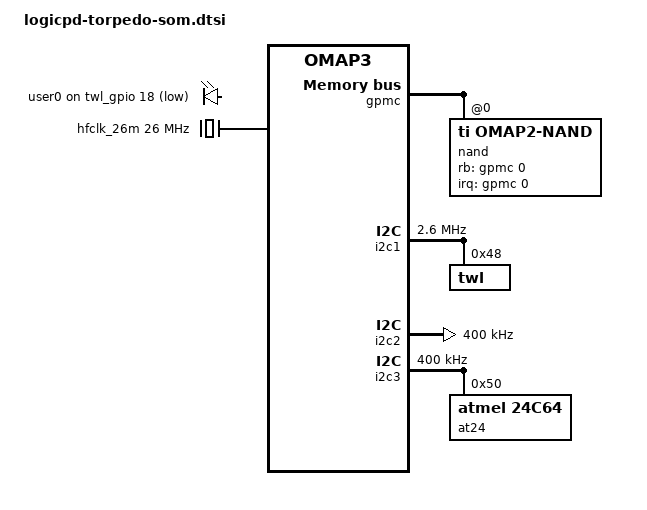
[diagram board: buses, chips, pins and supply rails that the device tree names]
// SPDX-License-Identifier: GPL-2.0-only

#include <dt-bindings/input/input.h>

/ {
	chosen {
		stdout-path = &uart1;
	};

	cpus {
		cpu@0 {
			cpu0-supply = <&vcc>;
		};
	};

	memory@80000000 {
		device_type = "memory";
		reg = <0x80000000 0>;
	};

	leds {
		compatible = "gpio-leds";
		led-user0 {
			label = "user0";
			gpios = <&twl_gpio 18 GPIO_ACTIVE_LOW>;	/* LEDA */
			linux,default-trigger = "none";
		};
	};

	/* fixed 26MHz oscillator */
	hfclk_26m: oscillator {
		#clock-cells = <0>;
		compatible = "fixed-clock";
		clock-frequency = <26000000>;
	};
};

/* The Torpedo doesn't route the USB host pins */
&usbhshost {
	status = "disabled";
};

&gpmc {
	ranges = <0 0 0x30000000 0x1000000>;	/* CS0: 16MB for NAND */

	nand@0,0 {
		compatible = "ti,omap2-nand";
		reg = <0 0 4>; /* CS0, offset 0, IO size 4 */
		interrupt-parent = <&gpmc>;
		interrupts = <0 IRQ_TYPE_NONE>, /* fifoevent */
			     <1 IRQ_TYPE_NONE>;	/* termcount */
		linux,mtd-name = "micron,mt29f4g16abbda3w";
		nand-bus-width = <16>;
		ti,nand-ecc-opt = "bch8";
		rb-gpios = <&gpmc 0 GPIO_ACTIVE_HIGH>; /* gpmc_wait0 */
		gpmc,sync-clk-ps = <0>;
		gpmc,cs-on-ns = <0>;
		gpmc,cs-rd-off-ns = <44>;
		gpmc,cs-wr-off-ns = <44>;
		gpmc,adv-on-ns = <6>;
		gpmc,adv-rd-off-ns = <34>;
		gpmc,adv-wr-off-ns = <44>;
		gpmc,we-off-ns = <40>;
		gpmc,oe-off-ns = <54>;
		gpmc,access-ns = <64>;
		gpmc,rd-cycle-ns = <82>;
		gpmc,wr-cycle-ns = <82>;
		gpmc,wr-access-ns = <40>;
		gpmc,wr-data-mux-bus-ns = <0>;
		gpmc,device-width = <2>;
		#address-cells = <1>;
		#size-cells = <1>;
	};
};

&i2c1 {
	pinctrl-names = "default";
	pinctrl-0 = <&i2c1_pins>;
	clock-frequency = <2600000>;

	twl: twl@48 {
		reg = <0x48>;
		interrupts = <7>; /* SYS_NIRQ cascaded to intc */
		interrupt-parent = <&intc>;
		clocks = <&hfclk_26m>;
		clock-names = "fck";

		twl_audio: audio {
			compatible = "ti,twl4030-audio";
			codec {
			};
		};
	};
};

&i2c2 {
	pinctrl-names = "default";
	pinctrl-0 = <&i2c2_pins>;
	clock-frequency = <400000>;
};

&i2c3 {
	pinctrl-names = "default";
	pinctrl-0 = <&i2c3_pins>;
	clock-frequency = <400000>;
	at24@50 {
		compatible = "atmel,24c64";
		readonly;
		reg = <0x50>;
	};
};

&omap3_pmx_core {
	mcbsp2_pins: mcbsp2-pins {
		pinctrl-single,pins = <
			OMAP3_CORE1_IOPAD(0x213c, PIN_INPUT | MUX_MODE0)        /* mcbsp2_fsx */
			OMAP3_CORE1_IOPAD(0x213e, PIN_INPUT | MUX_MODE0)        /* mcbsp2_clkx */
			OMAP3_CORE1_IOPAD(0x2140, PIN_INPUT | MUX_MODE0)        /* mcbsp2_dr */
			OMAP3_CORE1_IOPAD(0x2142, PIN_OUTPUT | MUX_MODE0)       /* mcbsp2_dx */
		>;
	};
	uart2_pins: uart2-pins {
		pinctrl-single,pins = <
			OMAP3_CORE1_IOPAD(0x2174, PIN_INPUT | MUX_MODE0)	/* uart2_cts.uart2_cts */
			OMAP3_CORE1_IOPAD(0x2176, PIN_OUTPUT | MUX_MODE0)	/* uart2_rts .uart2_rts*/
			OMAP3_CORE1_IOPAD(0x2178, PIN_OUTPUT | MUX_MODE0)	/* uart2_tx.uart2_tx */
			OMAP3_CORE1_IOPAD(0x217a, PIN_INPUT | MUX_MODE0)	/* uart2_rx.uart2_rx */
			OMAP3_CORE1_IOPAD(0x2198, PIN_OUTPUT | MUX_MODE4)	/* GPIO_162,BT_EN */
		>;
	};
	mcspi1_pins: mcspi1-pins {
		pinctrl-single,pins = <
			OMAP3_CORE1_IOPAD(0x21c8, PIN_INPUT | MUX_MODE0)        /* mcspi1_clk.mcspi1_clk */
			OMAP3_CORE1_IOPAD(0x21ca, PIN_OUTPUT | MUX_MODE0)       /* mcspi1_simo.mcspi1_simo */
			OMAP3_CORE1_IOPAD(0x21cc, PIN_INPUT_PULLUP | MUX_MODE0) /* mcspi1_somi.mcspi1_somi */
			OMAP3_CORE1_IOPAD(0x21ce, PIN_OUTPUT | MUX_MODE0)       /* mcspi1_cs0.mcspi1_cs0 */
		>;
	};
	hsusb_otg_pins: hsusb-otg-pins {
		pinctrl-single,pins = <
			OMAP3_CORE1_IOPAD(0x21a2, PIN_INPUT | MUX_MODE0)	/* hsusb0_clk.hsusb0_clk */
			OMAP3_CORE1_IOPAD(0x21a4, PIN_OUTPUT | MUX_MODE0)	/* hsusb0_stp.hsusb0_stp */
			OMAP3_CORE1_IOPAD(0x21a6, PIN_INPUT | MUX_MODE0)	/* hsusb0_dir.hsusb0_dir */
			OMAP3_CORE1_IOPAD(0x21a8, PIN_INPUT | MUX_MODE0)	/* hsusb0_nxt.hsusb0_nxt */

			OMAP3_CORE1_IOPAD(0x21aa, PIN_INPUT | MUX_MODE0)	/* hsusb0_data0.hsusb0_data0 */
			OMAP3_CORE1_IOPAD(0x21ac, PIN_INPUT | MUX_MODE0)	/* hsusb0_data1.hsusb0_data1 */
			OMAP3_CORE1_IOPAD(0x21ae, PIN_INPUT | MUX_MODE0)	/* hsusb0_data2.hsusb0_data2 */
			OMAP3_CORE1_IOPAD(0x21b0, PIN_INPUT | MUX_MODE0)	/* hsusb0_data3.hsusb0_data3 */
			OMAP3_CORE1_IOPAD(0x21b2, PIN_INPUT | MUX_MODE0)	/* hsusb0_data4.hsusb0_data4 */
			OMAP3_CORE1_IOPAD(0x21b4, PIN_INPUT | MUX_MODE0)	/* hsusb0_data5.hsusb0_data5 */
			OMAP3_CORE1_IOPAD(0x21b6, PIN_INPUT | MUX_MODE0)	/* hsusb0_data6.hsusb0_data6 */
			OMAP3_CORE1_IOPAD(0x21b8, PIN_INPUT | MUX_MODE0)	/* hsusb0_data7.hsusb0_data7 */
		>;
	};
	i2c1_pins: i2c1-pins {
		pinctrl-single,pins = <
			OMAP3_CORE1_IOPAD(0x21ba, PIN_INPUT | MUX_MODE0)        /* i2c1_scl.i2c1_scl */
			OMAP3_CORE1_IOPAD(0x21bc, PIN_INPUT | MUX_MODE0)        /* i2c1_sda.i2c1_sda */
		>;
	};
	i2c2_pins: i2c2-pins {
		pinctrl-single,pins = <
			OMAP3_CORE1_IOPAD(0x21be, PIN_INPUT | MUX_MODE0)	/* i2c2_scl */
			OMAP3_CORE1_IOPAD(0x21c0, PIN_INPUT | MUX_MODE0)	/* i2c2_sda */
		>;
	};
	i2c3_pins: i2c3-pins {
		pinctrl-single,pins = <
			OMAP3_CORE1_IOPAD(0x21c2, PIN_INPUT | MUX_MODE0)	/* i2c3_scl */
			OMAP3_CORE1_IOPAD(0x21c4, PIN_INPUT | MUX_MODE0)	/* i2c3_sda */
		>;
	};
};

&uart2 {
	interrupts-extended = <&intc 73 &omap3_pmx_core OMAP3_UART2_RX>;
	pinctrl-names = "default";
	pinctrl-0 = <&uart2_pins>;
};

&mcspi1 {
	pinctrl-names = "default";
	pinctrl-0 = <&mcspi1_pins>;
};

#include "twl4030.dtsi"
#include "twl4030_omap3.dtsi"

&twl {
	twl_power: power {
		compatible = "ti,twl4030-power-idle-osc-off", "ti,twl4030-power-idle";
		ti,use_poweroff;
	};
};

&twl_gpio {
	ti,use-leds;
};

&twl_keypad {
	status = "disabled";
};
